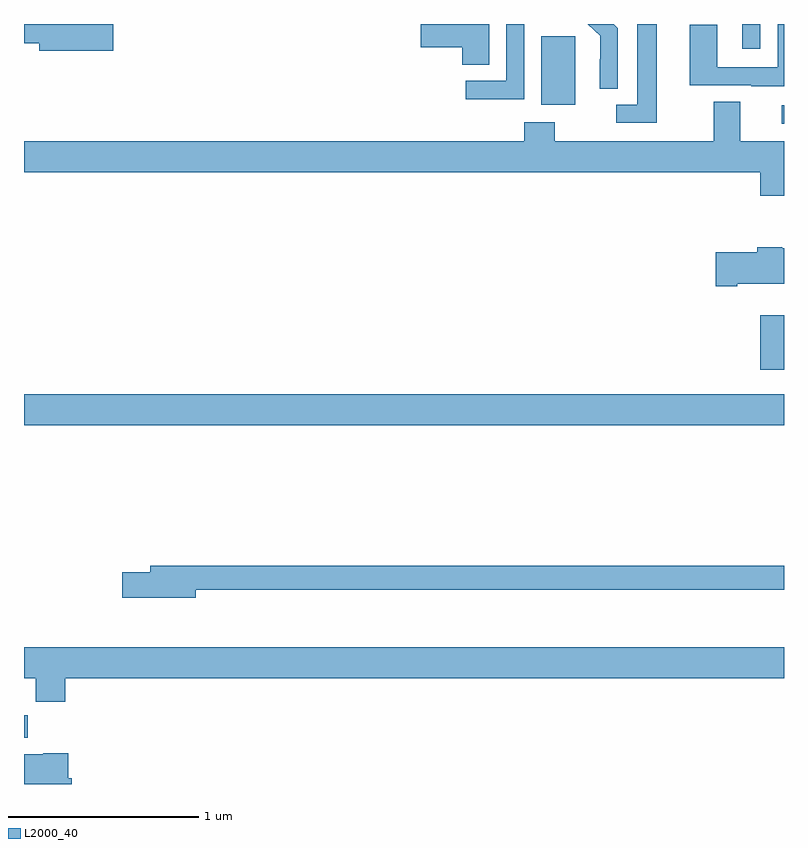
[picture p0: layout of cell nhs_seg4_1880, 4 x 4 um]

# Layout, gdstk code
import gdstk
lib = gdstk.Library(unit=1e-6, precision=1e-09)
def R(c, l, rs):  # rectangles x0, y0, x1, y1
    for r in rs: c.add(gdstk.rectangle(r[:2], r[2:], *l))
def P(c, l, *ps):  # polygons
    for p in ps: c.add(gdstk.Polygon(p, *l))
L2000_40 = (2000, 40)

nhs_seg4_1880 = lib.new_cell('nhs_seg4_1880')
R(nhs_seg4_1880, L2000_40, [(207,827.144,207.02,827.263), (207,828.788,211,828.952), (210.875,829.08,211,829.366), (210.987,830.376,211,830.472), (209.723,830.474,209.902,830.835), (210.779,830.769,210.876,830.9)])
P(nhs_seg4_1880, L2000_40, [(207.469,830.9),(207,830.9),(207,830.8),(207.08,830.8),(207.08,830.758),(207.469,830.758)],
  [(209.449,830.9),(209.088,830.9),(209.088,830.777),(209.306,830.777),(209.306,830.686),(209.449,830.686)],
  [(209.634,830.9),(209.538,830.9),(209.538,830.601),(209.325,830.601),(209.325,830.503),(209.634,830.503)],
  [(210.126,830.878),(210.104,830.9),(209.968,830.9),(210.032,830.837),(210.032,830.714),(210.03,830.714),(210.03,830.56),(210.126,830.56)],
  [(211,830.9),(210.966,830.9),(210.966,830.673),(210.648,830.673),(210.648,830.897),(210.503,830.897),(210.503,830.577),(210.827,830.577),(210.827,830.573),(211,830.573)],
  [(210.331,830.9),(210.227,830.9),(210.227,830.475),(210.117,830.475),(210.117,830.379),(210.331,830.379)],
  [(211,830.284),(210.769,830.284),(210.769,830.492),(210.629,830.492),(210.629,830.284),(209.793,830.284),(209.793,830.383),(209.633,830.383),(209.633,830.284),(207,830.284),(207,830.12),(210.875,830.12),(210.875,829.996),(211,829.996)],
  [(210.754,829.532),(211,829.532),(211,829.72),(210.99,829.72),(210.99,829.726),(210.86,829.726),(210.86,829.698),(210.642,829.698),(210.642,829.52),(210.754,829.52)],
  [(207.904,827.922),(211,827.922),(211,828.05),(207.665,828.05),(207.665,828.014),(207.516,828.014),(207.516,827.879),(207.904,827.879)],
  [(207.218,827.456),(211,827.456),(211,827.62),(207,827.62),(207,827.456),(207.061,827.456),(207.061,827.332),(207.218,827.332)],
  [(207.251,826.929),(207.233,826.929),(207.233,827.062),(207.102,827.062),(207.102,827.056),(207,827.056),(207,826.9),(207.251,826.9)])

lib.write_gds('nhs_seg4_1880.gds')
